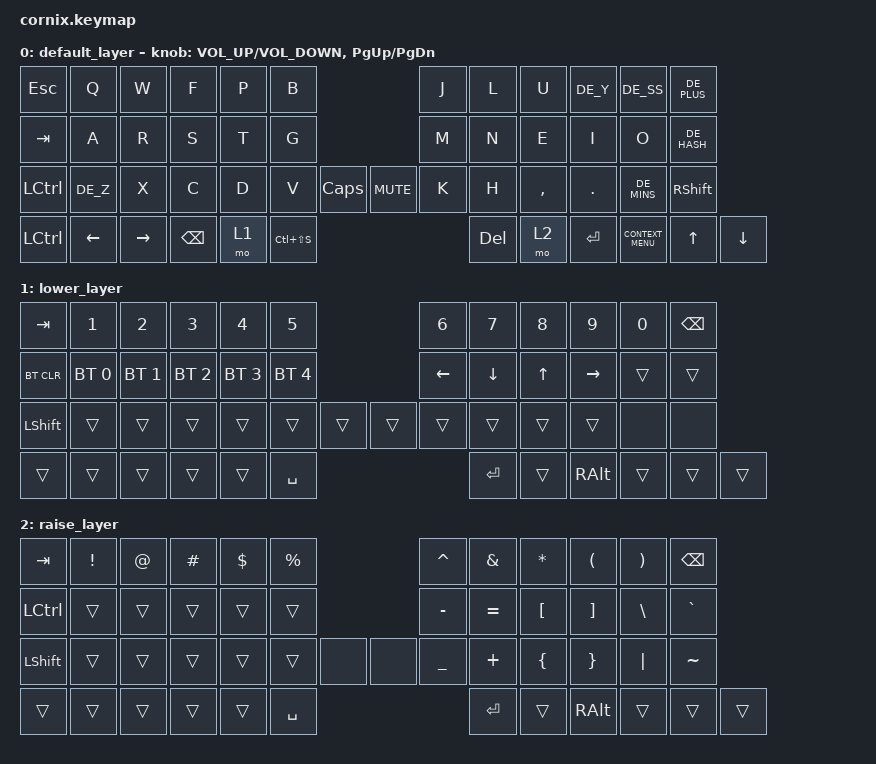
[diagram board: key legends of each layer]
/*
 * Copyright (c) 2024 The ZMK Contributors
 *
 * SPDX-License-Identifier: MIT
 */

#include <behaviors.dtsi>
#include <dt-bindings/zmk/bt.h>
#include <dt-bindings/zmk/keys.h>
#include "../../../config/includes/german.h"

/ {
    keymap {
        compatible = "zmk,keymap";

        default_layer {
            // -----------------------------------------------------------------------------------------
            // | ESC  |  Q  |  W  |  F  |  P  |  B  |      |   |      |  J  |  L  |  U  |  Y  |  ß  | +   |
            // | TAB  |  A  |  R  |  S  |  T  |  G  |      |   |      |  M  |  N  |  E  |  I  |  O  | #   |
            // | CTRL |  Z  |  X  |  C  |  D  |  V  |      |   |      |  K  |  H  |  ,  |  .  |  -  |SHIFT|
            //              | ←   | →   |BSPC |SPC1 |SnagIt|   | DEL  |SPC2 |ENT |Menu | ↑   | ↓   |

            bindings = <
&kp ESC    &kp Q   &kp W   &kp F     &kp P  &kp B                                &kp J    &kp L  &kp U      &kp DE_Y  &kp DE_SS   &kp DE_PLUS
&kp TAB    &kp A   &kp R   &kp S     &kp T  &kp G                                &kp M    &kp N  &kp E      &kp I     &kp O      &kp DE_HASH
&kp LCTRL  &kp DE_Z &kp X  &kp C     &kp D  &kp V      &kp CAPSLOCK  &kp K_MUTE  &kp K    &kp H  &kp COMMA  &kp DOT   &kp DE_MINS &kp RSHFT
&kp LCTRL  &kp LEFT &kp RIGHT &kp BSPC &mo 1 &kp LC(LS(S))                      &kp DEL  &mo 2  &kp RET    &kp K_CONTEXT_MENU &kp UP &kp DOWN
            >;

            sensor-bindings =
                <&inc_dec_kp C_VOLUME_UP C_VOLUME_DOWN>,
                <&inc_dec_kp PAGE_UP PAGE_DOWN>;
        };

        lower_layer {
            // -----------------------------------------------------------------------------------------
            // |  TAB |  1  |  2  |  3  |  4  |  5  |      |   |      |  6  |  7  |  8  |  9  |  0  | BKSP |
            // | BTCLR| BT1 | BT2 | BT3 | BT4 | BT5 |      |   |      | LFT | DWN |  UP | RGT |     |      |
            // | SHFT |     |     |     |     |     |      |   |      |     |     |     |     |     |      |
            //                    | GUI |     | SPC | SPC2 |   | ENT2 | ENT |     | ALT |

            bindings = <
&kp TAB     &kp N1        &kp N2        &kp N3        &kp N4        &kp N5                        &kp N6    &kp N7    &kp N8    &kp N9     &kp N0  &kp BSPC
&bt BT_CLR  &bt BT_SEL 0  &bt BT_SEL 1  &bt BT_SEL 2  &bt BT_SEL 3  &bt BT_SEL 4                  &kp LEFT  &kp DOWN  &kp UP    &kp RIGHT  &trans  &trans
&kp LSHFT   &trans        &trans        &trans        &trans        &trans        &trans  &trans  &trans    &trans    &trans    &trans     &none   &none
&trans      &trans        &trans        &trans        &trans        &kp SPACE                     &kp RET   &trans    &kp RALT  &trans     &trans  &trans
            >;
        };

        raise_layer {
            // -----------------------------------------------------------------------------------------
            // |  TAB |  !  |  @  |  #  |  $  |  %  |      |   |      |  ^  |  &  |  *  |  (  |  )  | BKSP |
            // | CTRL |     |     |     |     |     |      |   |      |  -  |  =  |  [  |  ]  |  \  |  `   |
            // | SHFT |     |     |     |     |     |      |   |      |  _  |  +  |  {  |  }  |  |  |  ~   |
            //                    | GUI |     | SPC | SPC2 |   | ENT2 | ENT |     | ALT |

            bindings = <
&kp TAB    &kp EXCL  &kp AT  &kp HASH  &kp DLLR  &kp PRCNT                &kp CARET  &kp AMPS   &kp ASTERISK  &kp LPAR  &kp RPAR  &kp BSPC
&kp LCTRL  &trans    &trans  &trans    &trans    &trans                   &kp MINUS  &kp EQUAL  &kp LBKT      &kp RBKT  &kp BSLH  &kp GRAVE
&kp LSHFT  &trans    &trans  &trans    &trans    &trans     &none  &none  &kp UNDER  &kp PLUS   &kp LBRC      &kp RBRC  &kp PIPE  &kp TILDE
&trans     &trans    &trans  &trans    &trans    &kp SPACE                &kp RET    &trans     &kp RALT      &trans    &trans    &trans
            >;
        };
    };
};
